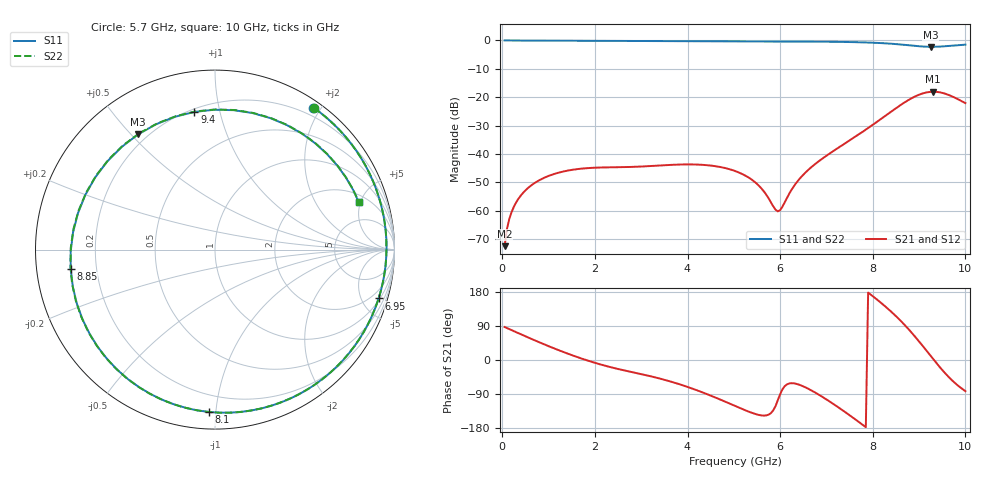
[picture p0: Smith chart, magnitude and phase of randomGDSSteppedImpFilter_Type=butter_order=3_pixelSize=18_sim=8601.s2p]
! freq	dB(S11)	phase(S11)	dB(S12)	phase(S12)
!  dB(S21)	phase(S21)	dB(S22)	phase(S22)
!S-par simulation data
#  GHz  S  DB  R 50
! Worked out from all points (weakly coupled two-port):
!   200 points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, 50 MHz to 10 GHz, reference 50 ohm
!   highest |S21| = -18.09 dB at 9.3 GHz (marker M1); lowest = -72.6 dB at 50 MHz (marker M2)
!   lowest |S11| = -2.3 dB at 9.25 GHz (marker M3), VSWR 7.76, Z = 8.24 + j26.1 ohm
!   |S11| at or under -10 dB: nowhere
!   |S22| runs from -2.2 to 0.0 dB; largest |S21 - S12| = 0
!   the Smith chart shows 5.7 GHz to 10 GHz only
!   S11 on the Smith chart (normalised r, x): 5.7 GHz: 0.09, +1.91; 6.95 GHz: 1.16, -6.65; 8.1 GHz: 0.10, -0.96; 8.85 GHz: 0.10, -0.07; 9.4 GHz: 0.22, +0.84; 10 GHz: 2.60, +4.80
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0.05  -0.00 -2.8  -72.56 87.0  -72.56 87.0  -0.00 -2.8
0.2  -0.02 -11.1  -60.57 78.9  -60.57 78.9  -0.02 -11.1
0.5  -0.04 -27.6  -52.88 62.5  -52.88 62.5  -0.04 -27.6
1.15  -0.08 -62.8  -46.94 29.1  -46.94 29.1  -0.08 -62.8
1.75  -0.12 -94.4  -45.15 2.2  -45.15 2.2  -0.12 -94.4
2.65  -0.17 -140.4  -44.67 -27.9  -44.67 -27.9  -0.17 -140.4
3.4  -0.21 -178.7  -44.10 -48.9  -44.10 -48.9  -0.21 -178.8
4.15  -0.25 141.9  -43.75 -77.5  -43.75 -77.5  -0.25 141.8
5.05  -0.30 92.3  -46.19 -122.5  -46.19 -122.5  -0.30 92.1
5.7  -0.33 55.3  -54.40 -146.2  -54.40 -146.2  -0.33 55.0
6  -0.34 38.1  -59.85 -90.2  -59.85 -90.2  -0.34 37.7
6.7  -0.40 -2.1  -44.33 -82.0  -44.33 -82.0  -0.40 -2.6
6.95  -0.43 -16.6  -41.22 -100.2  -41.22 -100.2  -0.43 -17.2
7.6  -0.59 -56.3  -34.19 -154.6  -34.19 -154.6  -0.60 -57.1
8.1  -0.86 -92.1  -28.60 158.7  -28.60 158.7  -0.87 -93.1
8.35  -1.10 -113.9  -25.67 132.8  -25.67 132.8  -1.10 -115.0
8.85  -1.82 -172.2  -20.28 70.6  -20.28 70.6  -1.82 -173.5
9.25  -2.25 123.8  -18.13 10.7  -18.13 10.7  -2.23 122.8
9.3  -2.25 115.3  -18.09 3.1  -18.09 3.1  -2.23 114.4
9.4  -2.21 98.5  -18.18 -11.9  -18.18 -11.9  -2.19 97.8
9.7  -1.86 53.3  -19.63 -52.3  -19.63 -52.3  -1.84 53.0
10  -1.48 18.4  -22.11 -82.1  -22.11 -82.1  -1.47 18.4
